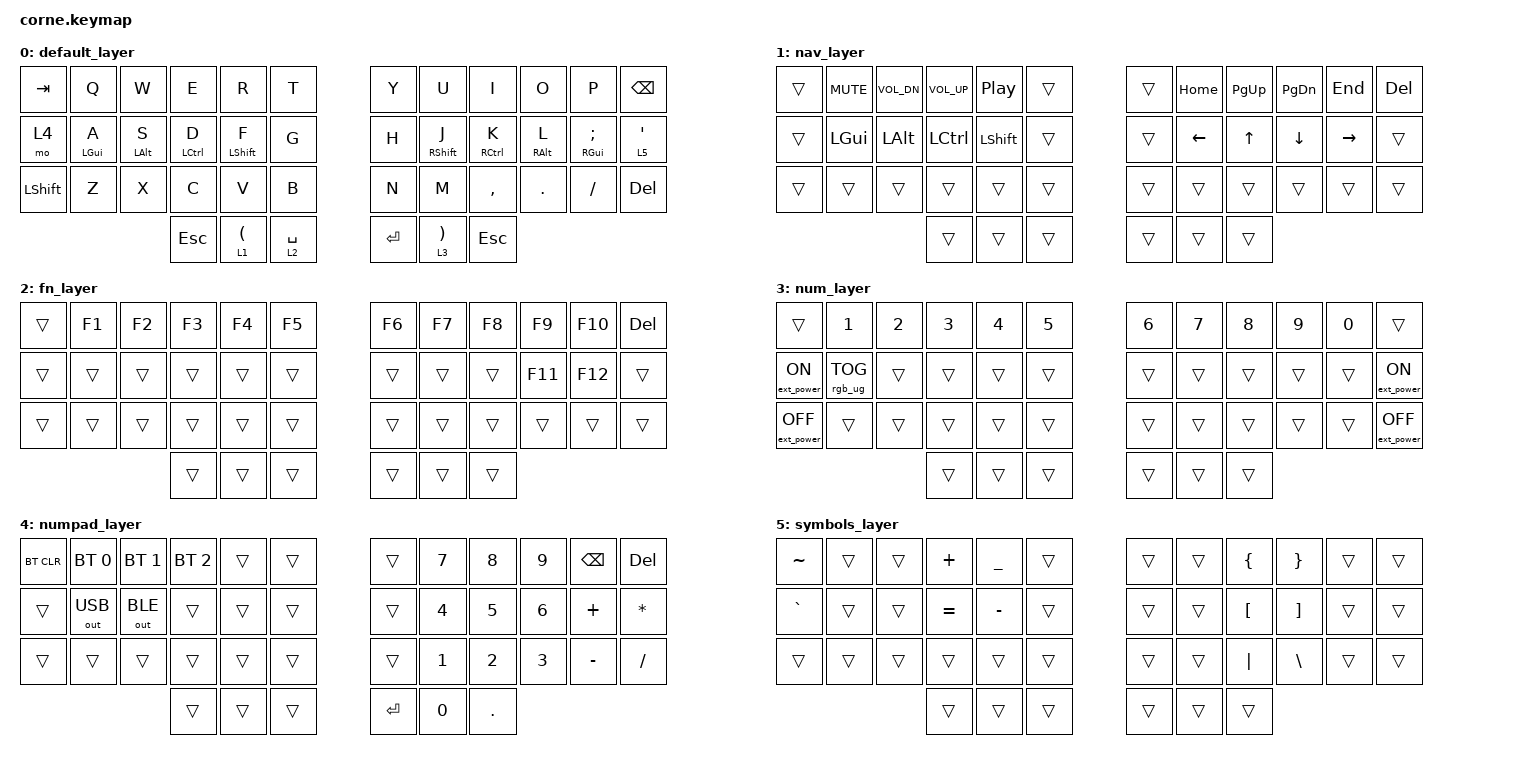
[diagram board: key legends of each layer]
/*
 * Copyright (c) 2020 The ZMK Contributors
 *
 * SPDX-License-Identifier: MIT
 */

#include <behaviors.dtsi>
#include <dt-bindings/zmk/keys.h>
 
#include <dt-bindings/zmk/bt.h>
#include <dt-bindings/zmk/outputs.h>
#include <dt-bindings/zmk/ext_power.h>
#include <dt-bindings/zmk/rgb.h>

/*trigger build*/

/ {
    behaviors {
        hm: balanced_homerow_mods {
            compatible = "zmk,behavior-hold-tap";
            label = "HOMEROW_MODS";
            #binding-cells = <2>;
            tapping-term-ms = <200>;    // <---[[moderate duration]]
            quick_tap_ms = <0>;
            flavor = "balanced";
            bindings = <&kp>, <&kp>;
        };
    };
    keymap {
        compatible = "zmk,keymap";

        default_layer {
            // -----------------------------------------------------------------------------------------
            // |  TAB |  Q  |  W  |  E  |  R  |  T  |   |  Y  |  U   |  I  |  O  |  P  | BKSP |
            // |  PAD |  A  |  S  |  D  |  F  |  G  |   |  H  |  J   |  K  |  L  |  ;  |  '   |
            // |      |  Z  |  X  |  C  |  V  |  B  |   |  N  |  M   |  ,  |  .  |  /  | ESC  |
            //                    | ESC | NAV | SPC |   | ENT | FN   | ESC |
            bindings = <
                &kp TAB   &kp Q      &kp W      &kp E       &kp R       &kp T   &kp Y &kp U       &kp I       &kp O      &kp P         &kp BACKSPACE
                &mo 4     &hm LGUI A &hm LALT S &hm LCTRL D &hm LSHFT F &kp G   &kp H &hm RSHFT J &hm RCTRL K &hm RALT L &hm RGUI SEMI &lt 5 SQT
                &kp LSHFT &kp Z      &kp X      &kp C       &kp V       &kp B   &kp N &kp M       &kp COMMA   &kp DOT    &kp FSLH      &kp DELETE
                &kp ESC   &lt 1 LPAR &lt 2 SPACE  &kp RET     &lt 3 RPAR  &kp ESC
            >;
        };
/* 1 */
        nav_layer {
            bindings = <
                &trans &kp C_MUTE &kp C_VOL_DN &kp C_VOL_UP &kp C_PLAY_PAUSE &trans &trans &kp HOME &kp PG_UP &kp PAGE_DOWN &kp END   &kp DEL
                &trans &kp LGUI   &kp LALT     &kp LCTRL    &kp LSHFT        &trans &trans &kp LEFT &kp UP    &kp DOWN      &kp RIGHT &trans
                &trans &trans     &trans       &trans       &trans           &trans &trans &trans   &trans    &trans        &trans    &trans
                &trans &trans     &trans       &trans       &trans           &trans
            >;
        };
/* 2 */
        fn_layer {
            bindings = <
                &trans &kp F1 &kp F2 &kp F3 &kp F4 &kp F5 &kp F6 &kp F7 &kp F8 &kp F9 &kp F10 &kp DEL
                &trans &trans &trans &trans &trans &trans &trans &trans &trans &kp F11 &kp F12 &trans
                &trans &trans &trans &trans &trans &trans &trans &trans &trans &trans &trans &trans
                &trans &trans &trans &trans &trans &trans
            >;
        };
/* 3 */
        num_layer {
            bindings = <
            /*  &trans &kp F1 &kp F2 &kp F3 &kp F4 &kp F5 &kp F6 &kp F7 &kp F8 &kp F9 &kp F10 &trans */
                &trans &kp N1 &kp N2 &kp N3 &kp N4 &kp N5 &kp N6 &kp N7 &kp N8 &kp N9 &kp N0 &trans
                &ext_power EP_ON &rgb_ug RGB_TOG &trans &trans &trans &trans &trans &trans &trans &trans &trans &ext_power EP_ON
                &ext_power EP_OFF &trans &trans &trans &trans &trans &trans &trans &trans &trans &trans &ext_power EP_OFF
                &trans &trans &trans &trans &trans &trans
            >;
        };
/* 4 */
        numpad_layer {
            bindings = <
                &bt BT_CLR &bt BT_SEL 0 &bt BT_SEL 1 &bt BT_SEL 2  &trans &trans &trans &kp N7 &kp N8 &kp N9 &kp BACKSPACE &kp DEL
                &trans &out OUT_USB &out OUT_BLE &trans  &trans &trans &trans &kp N4 &kp N5 &kp N6 &kp PLUS      &kp ASTERISK
                &trans &trans &trans &trans  &trans &trans &trans &kp N1 &kp N2 &kp N3 &kp MINUS     &kp SLASH
                &trans &trans &trans &kp RET &kp N0 &kp DOT
            >;
        };
/* 5 */
        symbols_layer {
            bindings = <
                &kp TILDE &trans &trans            &kp PLUS   &kp UNDER    &trans     &trans &trans &kp LBRC &kp RBRC &trans &trans
                &kp GRAVE &trans &trans            &kp EQUAL  &kp MINUS    &trans     &trans &trans &kp LBKT &kp RBKT &trans &trans
                &trans    &trans &trans            &trans     &trans       &trans     &trans &trans &kp PIPE &kp BSLH &trans &trans
                &trans &trans &trans &trans &trans &trans
            >;
        };
    };
};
